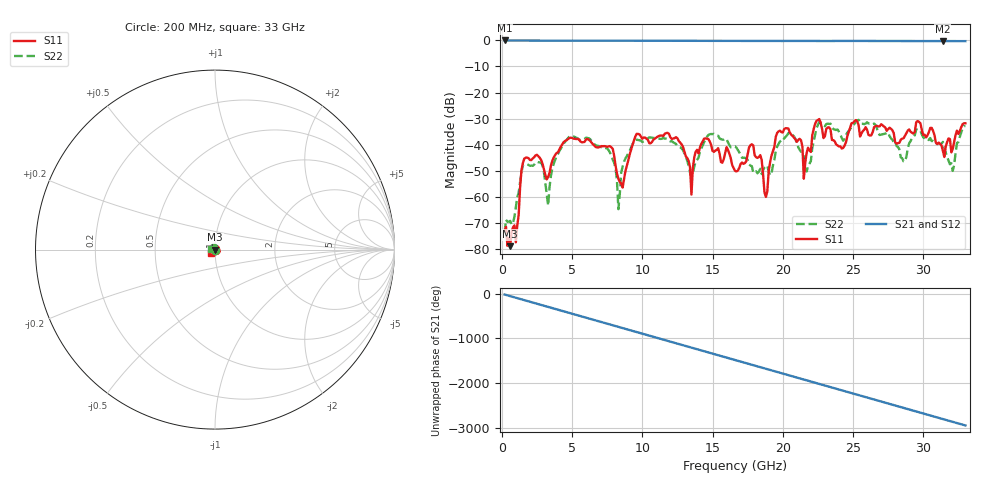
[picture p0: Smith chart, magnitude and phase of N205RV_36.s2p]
# GHZ S RI R 50
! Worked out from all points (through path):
!   329 points, 200 MHz to 33 GHz, reference 50 ohm
!   highest |S21| = -0.02 dB at 200 MHz (marker M1); lowest = -0.3 dB at 31.4 GHz (marker M2)
!   group delay of S21, straight-line fit = 248 ps
!   lowest |S11| = -78.9 dB at 600 MHz (marker M3), VSWR 1.00, Z = 50 + j0.0092 ohm
!   |S11| at or under -10 dB: start of sweep to end of sweep
!   |S22| runs from -73.5 to -30.5 dB; largest |S21 - S12| = 0.0019
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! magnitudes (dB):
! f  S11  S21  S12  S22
! 200 MHz  -73.1  0.0  0.0  -73.5
! 600 MHz  -78.9  0.0  0.0  -69.2
! 1.6 GHz  -45.3  -0.1  -0.1  -47.5
! 3.3 GHz  -52.4  -0.1  -0.1  -63.3
! 5.7 GHz  -39.1  -0.1  -0.1  -38.1
! 7.7 GHz  -40.5  -0.1  -0.1  -43.0
! 8.3 GHz  -53.1  -0.1  -0.1  -64.7
! 9.3 GHz  -40.1  -0.1  -0.1  -39.9
! 11.2 GHz  -36.6  -0.2  -0.2  -37.6
! 13.5 GHz  -59.1  -0.2  -0.2  -52.3
! 14.4 GHz  -37.7  -0.2  -0.2  -39.0
! 16.6 GHz  -50.0  -0.2  -0.2  -40.6
! 17.9 GHz  -40.3  -0.2  -0.2  -50.7
! 18.8 GHz  -60.0  -0.2  -0.2  -48.1
! 19.6 GHz  -35.5  -0.2  -0.2  -40.7
! 21.3 GHz  -38.3  -0.2  -0.2  -42.7
! 21.5 GHz  -53.0  -0.2  -0.2  -44.7
! 22.1 GHz  -36.4  -0.2  -0.2  -41.2
! 27.6 GHz  -33.5  -0.2  -0.2  -36.7
! 31.4 GHz  -42.4  -0.3  -0.3  -38.9
! 32.1 GHz  -41.6  -0.3  -0.3  -50.0
! 33 GHz  -31.8  -0.3  -0.3  -32.8
